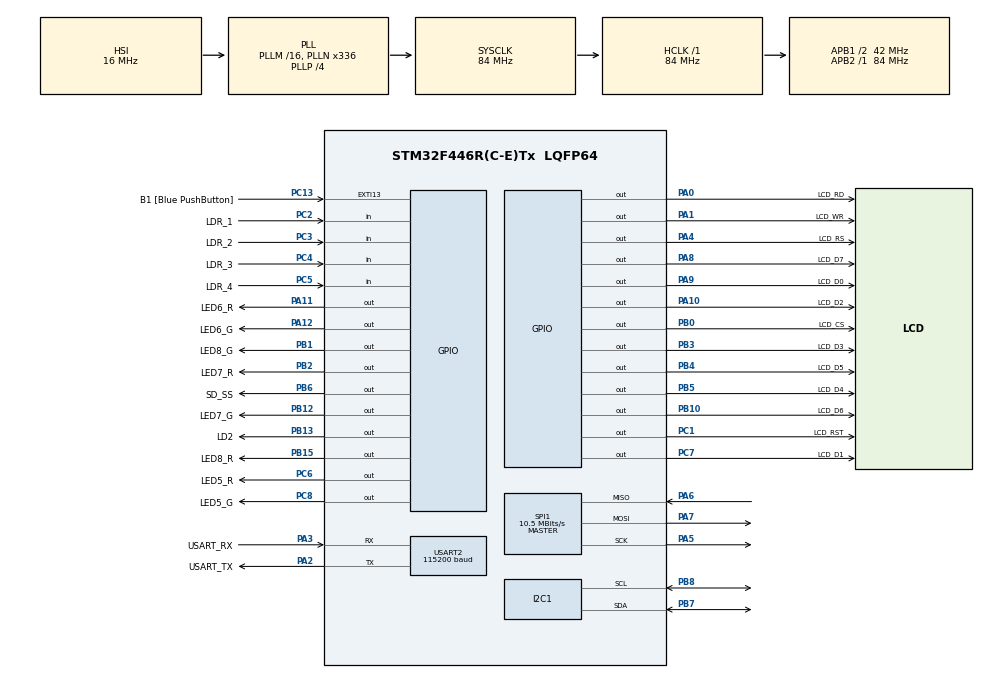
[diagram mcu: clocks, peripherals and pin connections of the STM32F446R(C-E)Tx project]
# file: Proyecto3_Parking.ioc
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I2C1.OwnAddress=0x55
Mcu.Family=STM32F4
Mcu.Name=STM32F446R(C-E)Tx
Mcu.Package=LQFP64
NVIC.I2C1_ER_IRQn=true\:0\:0\:false\:false\:true\:true\:true\:true
NVIC.I2C1_EV_IRQn=true\:0\:0\:false\:false\:true\:true\:true\:true
NVIC.PriorityGroup=NVIC_PRIORITYGROUP_0
PA0-WKUP.GPIO_Label=LCD_RD
PA0-WKUP.Signal=GPIO_Output
PA1.GPIO_Label=LCD_WR
PA1.Signal=GPIO_Output
PA10.GPIO_Label=LCD_D2
PA10.Signal=GPIO_Output
PA11.GPIO_Label=LED6_R
PA11.Signal=GPIO_Output
PA12.GPIO_Label=LED6_G
PA12.Signal=GPIO_Output
PA2.GPIO_Label=USART_TX
PA2.Mode=Asynchronous
PA2.Signal=USART2_TX
PA3.GPIO_Label=USART_RX
PA3.Mode=Asynchronous
PA3.Signal=USART2_RX
PA4.GPIO_Label=LCD_RS
PA4.Signal=GPIO_Output
PA5.Mode=Full_Duplex_Master
PA5.Signal=SPI1_SCK
PA6.Mode=Full_Duplex_Master
PA6.Signal=SPI1_MISO
PA7.Mode=Full_Duplex_Master
PA7.Signal=SPI1_MOSI
PA8.GPIO_Label=LCD_D7
PA8.Signal=GPIO_Output
PA9.GPIO_Label=LCD_D0
PA9.Signal=GPIO_Output
PB0.GPIO_Label=LCD_CS
PB0.Signal=GPIO_Output
PB1.GPIO_Label=LED8_G
PB1.Signal=GPIO_Output
PB10.GPIO_Label=LCD_D6
PB10.Signal=GPIO_Output
PB12.GPIO_Label=LED7_G
PB12.Signal=GPIO_Output
PB13.GPIO_Label=LD2
PB13.Signal=GPIO_Output
PB15.GPIO_Label=LED8_R
PB15.Signal=GPIO_Output
PB2.GPIO_Label=LED7_R
PB2.Signal=GPIO_Output
PB3.GPIO_Label=LCD_D3
PB3.Signal=GPIO_Output
PB4.GPIO_Label=LCD_D5
PB4.Signal=GPIO_Output
PB5.GPIO_Label=LCD_D4
PB5.Signal=GPIO_Output
PB6.GPIO_Label=SD_SS
PB6.Signal=GPIO_Output
PB7.Mode=I2C
PB7.Signal=I2C1_SDA
PB8.Mode=I2C
PB8.Signal=I2C1_SCL
PC1.GPIO_Label=LCD_RST
PC1.Signal=GPIO_Output
PC11.Signal=GPXTI11
PC13.GPIO_Label=B1 [Blue PushButton]
PC13.GPIO_ModeDefaultEXTI=GPIO_MODE_IT_FALLING
PC13.Signal=GPXTI13
PC14-OSC32_IN.Mode=LSE-External-Oscillator
PC14-OSC32_IN.Signal=RCC_OSC32_IN
PC15-OSC32_OUT.Mode=LSE-External-Oscillator
PC15-OSC32_OUT.Signal=RCC_OSC32_OUT
PC2.GPIO_Label=LDR_1
PC2.Signal=GPIO_Input
PC3.GPIO_Label=LDR_2
PC3.Signal=GPIO_Input
PC4.GPIO_Label=LDR_3
PC4.Signal=GPIO_Input
PC5.GPIO_Label=LDR_4
PC5.Signal=GPIO_Input
PC6.GPIO_Label=LED5_R
PC6.Signal=GPIO_Output
PC7.GPIO_Label=LCD_D1
PC7.Signal=GPIO_Output
PC8.GPIO_Label=LED5_G
PC8.Signal=GPIO_Output
PH0-OSC_IN.Mode=HSE-External-Oscillator
PH0-OSC_IN.Signal=RCC_OSC_IN
PH1-OSC_OUT.Mode=HSE-External-Oscillator
PH1-OSC_OUT.Signal=RCC_OSC_OUT
ProjectManager.HeapSize=0x200
ProjectManager.StackSize=0x400
ProjectManager.TargetToolchain=STM32CubeIDE
RCC.48MHZClocksFreq_Value=84000000
RCC.AHBFreq_Value=84000000
RCC.APB1CLKDivider=RCC_HCLK_DIV2
RCC.APB1Freq_Value=42000000
RCC.APB1TimFreq_Value=84000000
RCC.APB2Freq_Value=84000000
RCC.APB2TimFreq_Value=84000000
RCC.CortexFreq_Value=84000000
RCC.FLatency-AdvancedSettings=FLASH_LATENCY_2
RCC.HCLKFreq_Value=84000000
RCC.HSE_VALUE=8000000
RCC.HSI_VALUE=16000000
RCC.PLLN=336
RCC.PLLP=RCC_PLLP_DIV4
RCC.SYSCLKFreq_VALUE=84000000
RCC.SYSCLKSource=RCC_SYSCLKSOURCE_PLLCLK
RCC.USBFreq_Value=168000000
RCC.VCOOutputFreq_Value=336000000
SPI1.BaudRatePrescaler=SPI_BAUDRATEPRESCALER_8
SPI1.CalculateBaudRate=10.5 MBits/s
SPI1.Direction=SPI_DIRECTION_2LINES
SPI1.Mode=SPI_MODE_MASTER
SPI1.VirtualType=VM_MASTER
USART2.BaudRate=115200
USART2.VirtualMode=VM_ASYNC
board=NUCLEO-F446RE

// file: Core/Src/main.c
/* USER CODE BEGIN Header */
/**
  ******************************************************************************
  * @file           : main.c
  * @brief          : Main program body
  ******************************************************************************
  * @attention
  *
  * Copyright (c) 2025 STMicroelectronics.
  * All rights reserved.
  *
  * This software is licensed under terms that can be found in the LICENSE file
  * in the root directory of this software component.
  * If no LICENSE file comes with this software, it is provided AS-IS.
  *
  ******************************************************************************
  */
/* USER CODE END Header */
#include "main.h"

/* USER CODE BEGIN Includes */
#include "ili9341.h"
#include "Bitmaps.h"

#include <string.h>
#include <stdio.h>
/* USER CODE END Includes */

/* USER CODE BEGIN PTD */
#define DeviceAddress 0x66
/* USER CODE END PTD */

I2C_HandleTypeDef hi2c1;

SPI_HandleTypeDef hspi1;

UART_HandleTypeDef huart2;

/* USER CODE BEGIN PV */

  char msg[50];
  uint8_t valorLDR5 = 0;
  uint8_t valorLDR6 = 0;
  uint8_t valorLDR7 = 0;
  uint8_t valorLDR8 = 0;

  //Variables útiles para comunicación I2C
#define TXBUFFERSIZE 4
#define RXBUFFERSIZE 4

int count = 0;

uint8_t aTxBuffer[TXBUFFERSIZE];
/*
 * Si alguno de los bytes en el buffer aTXBuffer se encuentra en 1 es porque ese espacio está ocupado
 *
 * */

uint8_t aRxBuffer[RXBUFFERSIZE];

uint8_t Park5_available = 0;
uint8_t Park6_available = 0;
uint8_t Park7_available = 0;
uint8_t Park8_available = 0;

/* USER CODE END PV */

void SystemClock_Config(void);
static void MX_GPIO_Init(void);
static void MX_USART2_UART_Init(void);
static void MX_SPI1_Init(void);
static void MX_I2C1_Init(void);

int main(void)
{

  /* MCU Configuration--------------------------------------------------------*/

  /* Reset of all peripherals, Initializes the Flash interface and the Systick. */
  HAL_Init();

  /* Configure the system clock */
  SystemClock_Config();

  /* Initialize all configured peripherals */
  MX_GPIO_Init();
  MX_USART2_UART_Init();
  MX_SPI1_Init();
  MX_I2C1_Init();
  /* USER CODE BEGIN 2 */
  LCD_Init();

  if (HAL_I2C_EnableListen_IT(&hi2c1) != HAL_OK){
	  Error_Handler();
  }
  //HAL_ADC_Start(&hadc1);

  //********************* Iniciliazación del fondo **********************************************
  LCD_Clear(0x00);
  FillRect(0, 0, 319, 239, 0x4a49);
  FillRect(80, 0,3,75,0xff20 );
  FillRect(160, 0,3,75,0xff20 );
  FillRect(240, 0,3,75,0xff20 );
  FillRect(80, 154,3,75,0xff20 );
  FillRect(160, 154,3,75,0xff20 );
  FillRect(240, 154,3,75,0xff20 );

  //LCD_Sprite(x, y, width, height, bitmap, columns, index, flip, offset)
  //LCD_Sprite(0, 0, 70, 89, Car_red_prueba, 1, 0, 1, 0);

  /* USER CODE END 2 */

  /* Infinite loop */
  /* USER CODE BEGIN WHILE */
  while (1)
  {

	      //HAL_ADC_Start(&hadc1);
	 	  //HAL_ADC_PollForConversion(&hadc1, HAL_MAX_DELAY);
	 	  //valorADC = HAL_ADC_GetValue(&hadc1);

	      valorLDR5 = HAL_GPIO_ReadPin(GPIOC, LDR_1_Pin);
	 	  if (valorLDR5)
	 	      {
	 	        HAL_GPIO_WritePin(GPIOC, LED5_G_Pin, GPIO_PIN_RESET);
	 	        HAL_GPIO_WritePin(GPIOC, LED5_R_Pin, GPIO_PIN_SET);
	 	       LCD_Sprite(0, 0, 70, 89, Car_red_prueba, 1, 0, 1, 0);
	 	       Park5_available = 1;
	 	      }
	 	  else
	 	      {
	 	        HAL_GPIO_WritePin(GPIOC,  LED5_G_Pin, GPIO_PIN_SET);
	 	        HAL_GPIO_WritePin(GPIOC,  LED5_R_Pin, GPIO_PIN_RESET);
	 	       //green_count_local++;
	 	       Park5_available = 0;
	 	        FillRect(0, 0, 70, 89, 0x4a49);
	 	      }

	 	  valorLDR6 = HAL_GPIO_ReadPin(GPIOC, LDR_2_Pin);
	 	 if (valorLDR6)
	 	      {
	 	 	 	  HAL_GPIO_WritePin(GPIOA, LED6_G_Pin, GPIO_PIN_RESET);
	 	 	 	  HAL_GPIO_WritePin(GPIOA, LED6_R_Pin, GPIO_PIN_SET);
	 	 	 	  LCD_Sprite(83, 0, 70, 89, Car_red_prueba, 1, 0, 1, 0);
	 	 	 	  Park6_available = 1;
	 	 	   }
	 	 	 else
	 	 	   {
	 	 	       HAL_GPIO_WritePin(GPIOA,  LED6_G_Pin, GPIO_PIN_SET);
	 	 	 	   HAL_GPIO_WritePin(GPIOA,  LED6_R_Pin, GPIO_PIN_RESET);
	 	 	 	 //green_count_local++;
	 	 	 	   FillRect(83, 0, 70, 89, 0x4a49);
	 	 	 	   Park6_available = 0;
	 	 	 	}

	 	valorLDR7 = HAL_GPIO_ReadPin(GPIOC, LDR_3_Pin);
	 		 	 if (valorLDR7)
	 		 	      {
	 		 	 	 	  HAL_GPIO_WritePin(GPIOB, LED7_G_Pin, GPIO_PIN_RESET);
	 		 	 	 	  HAL_GPIO_WritePin(GPIOB, LED7_R_Pin, GPIO_PIN_SET);
	 		 	 	 	  LCD_Sprite(163, 0, 70, 89, Car_red_prueba, 1, 0, 1, 0);
	 		 	 	 	Park7_available = 1;
	 		 	 	   }
	 		 	 	 else
	 		 	 	   {
	 		 	 	       HAL_GPIO_WritePin(GPIOB,  LED7_G_Pin, GPIO_PIN_SET);
	 		 	 	 	   HAL_GPIO_WritePin(GPIOB,  LED7_R_Pin, GPIO_PIN_RESET);
	 		 	 	 	// green_count_local++;
	 		 	 	 	   FillRect(163, 0, 70, 89, 0x4a49);
	 		 	 	 	Park7_available = 0;
	 		 	 	 	}

	 		 	valorLDR8 = HAL_GPIO_ReadPin(GPIOC, LDR_4_Pin);
	 		 	if (valorLDR8)
	 		 		 		 	      {
	 		 		 		 	 	 	  HAL_GPIO_WritePin(GPIOB, LED8_G_Pin, GPIO_PIN_RESET);
	 		 		 		 	 	 	  HAL_GPIO_WritePin(GPIOB, LED8_R_Pin, GPIO_PIN_SET);
	 		 		 		 	 	 	  LCD_Sprite(243, 0, 70, 89, Car_red_prueba, 1, 0, 1, 0);
	 		 		 		 	 	 Park8_available = 1;
	 		 		 		 	 	   }
	 		 		 		 	 	 else
	 		 		 		 	 	   {
	 		 		 		 	 	       HAL_GPIO_WritePin(GPIOB,  LED8_G_Pin, GPIO_PIN_SET);
	 		 		 		 	 	 	   HAL_GPIO_WritePin(GPIOB,  LED8_R_Pin, GPIO_PIN_RESET);
	 		 		 		 	 	//  green_count_local++;
	 		 		 		 	 	 	   FillRect(243, 0, 70, 89, 0x4a49);
	 		 		 		 	 	 	Park8_available = 0;
	 		 		 		 	 	 	}

	 	      //HAL_UART_Transmit(&huart2, (uint8_t*)msg, strlen(msg), HAL_MAX_DELAY);

	 	    /* aTxBuffer[0] = green_count_local;

	 	        uint8_t green_count_remote = aRxBuffer[0];
	 	        if (green_count_remote > 4) green_count_remote = 4;

	 	        uint8_t total_green = green_count_local + green_count_remote;
	 	        if (total_green > 8) total_green = 8;
	 	      HAL_Delay(100);*/

    /* USER CODE END WHILE */

  }
}

void SystemClock_Config(void)
{
  RCC_OscInitTypeDef RCC_OscInitStruct = {0};
  RCC_ClkInitTypeDef RCC_ClkInitStruct = {0};

  /** Configure the main internal regulator output voltage
  */
  __HAL_RCC_PWR_CLK_ENABLE();
  __HAL_PWR_VOLTAGESCALING_CONFIG(PWR_REGULATOR_VOLTAGE_SCALE3);

  /** Initializes the RCC Oscillators according to the specified parameters
  * in the RCC_OscInitTypeDef structure.
  */
  RCC_OscInitStruct.OscillatorType = RCC_OSCILLATORTYPE_HSI;
  RCC_OscInitStruct.HSIState = RCC_HSI_ON;
  RCC_OscInitStruct.HSICalibrationValue = RCC_HSICALIBRATION_DEFAULT;
  RCC_OscInitStruct.PLL.PLLState = RCC_PLL_ON;
  RCC_OscInitStruct.PLL.PLLSource = RCC_PLLSOURCE_HSI;
  RCC_OscInitStruct.PLL.PLLM = 16;
  RCC_OscInitStruct.PLL.PLLN = 336;
  RCC_OscInitStruct.PLL.PLLP = RCC_PLLP_DIV4;
  RCC_OscInitStruct.PLL.PLLQ = 2;
  RCC_OscInitStruct.PLL.PLLR = 2;
  if (HAL_RCC_OscConfig(&RCC_OscInitStruct) != HAL_OK)
  {
    Error_Handler();
  }

  /** Initializes the CPU, AHB and APB buses clocks
  */
  RCC_ClkInitStruct.ClockType = RCC_CLOCKTYPE_HCLK|RCC_CLOCKTYPE_SYSCLK
                              |RCC_CLOCKTYPE_PCLK1|RCC_CLOCKTYPE_PCLK2;
  RCC_ClkInitStruct.SYSCLKSource = RCC_SYSCLKSOURCE_PLLCLK;
  RCC_ClkInitStruct.AHBCLKDivider = RCC_SYSCLK_DIV1;
  RCC_ClkInitStruct.APB1CLKDivider = RCC_HCLK_DIV2;
  RCC_ClkInitStruct.APB2CLKDivider = RCC_HCLK_DIV1;

  if (HAL_RCC_ClockConfig(&RCC_ClkInitStruct, FLASH_LATENCY_2) != HAL_OK)
  {
    Error_Handler();
  }
}

static void MX_I2C1_Init(void)
{

  hi2c1.Instance = I2C1;
  hi2c1.Init.ClockSpeed = 100000;
  hi2c1.Init.DutyCycle = I2C_DUTYCYCLE_2;
  hi2c1.Init.OwnAddress1 = 170;
  hi2c1.Init.AddressingMode = I2C_ADDRESSINGMODE_7BIT;
  hi2c1.Init.DualAddressMode = I2C_DUALADDRESS_DISABLE;
  hi2c1.Init.OwnAddress2 = 0;
  hi2c1.Init.GeneralCallMode = I2C_GENERALCALL_DISABLE;
  hi2c1.Init.NoStretchMode = I2C_NOSTRETCH_DISABLE;
  if (HAL_I2C_Init(&hi2c1) != HAL_OK)
  {
    Error_Handler();
  }

}

static void MX_SPI1_Init(void)
{

  /* SPI1 parameter configuration*/
  hspi1.Instance = SPI1;
  hspi1.Init.Mode = SPI_MODE_MASTER;
  hspi1.Init.Direction = SPI_DIRECTION_2LINES;
  hspi1.Init.DataSize = SPI_DATASIZE_8BIT;
  hspi1.Init.CLKPolarity = SPI_POLARITY_LOW;
  hspi1.Init.CLKPhase = SPI_PHASE_1EDGE;
  hspi1.Init.NSS = SPI_NSS_SOFT;
  hspi1.Init.BaudRatePrescaler = SPI_BAUDRATEPRESCALER_8;
  hspi1.Init.FirstBit = SPI_FIRSTBIT_MSB;
  hspi1.Init.TIMode = SPI_TIMODE_DISABLE;
  hspi1.Init.CRCCalculation = SPI_CRCCALCULATION_DISABLE;
  hspi1.Init.CRCPolynomial = 10;
  if (HAL_SPI_Init(&hspi1) != HAL_OK)
  {
    Error_Handler();
  }

}

static void MX_USART2_UART_Init(void)
{

  huart2.Instance = USART2;
  huart2.Init.BaudRate = 115200;
  huart2.Init.WordLength = UART_WORDLENGTH_8B;
  huart2.Init.StopBits = UART_STOPBITS_1;
  huart2.Init.Parity = UART_PARITY_NONE;
  huart2.Init.Mode = UART_MODE_TX_RX;
  huart2.Init.HwFlowCtl = UART_HWCONTROL_NONE;
  huart2.Init.OverSampling = UART_OVERSAMPLING_16;
  if (HAL_UART_Init(&huart2) != HAL_OK)
  {
    Error_Handler();
  }

}

static void MX_GPIO_Init(void)
{
  GPIO_InitTypeDef GPIO_InitStruct = {0};

  /* GPIO Ports Clock Enable */
  __HAL_RCC_GPIOC_CLK_ENABLE();
  __HAL_RCC_GPIOH_CLK_ENABLE();
  __HAL_RCC_GPIOA_CLK_ENABLE();
  __HAL_RCC_GPIOB_CLK_ENABLE();

  /*Configure GPIO pin Output Level */
  HAL_GPIO_WritePin(GPIOC, LCD_RST_Pin|LED5_R_Pin|LCD_D1_Pin|LED5_G_Pin, GPIO_PIN_RESET);

  /*Configure GPIO pin Output Level */
  HAL_GPIO_WritePin(GPIOA, LCD_RD_Pin|LCD_WR_Pin|LCD_RS_Pin|LCD_D7_Pin
                          |LCD_D0_Pin|LCD_D2_Pin|LED6_R_Pin|LED6_G_Pin, GPIO_PIN_RESET);

  /*Configure GPIO pin Output Level */
  HAL_GPIO_WritePin(GPIOB, LCD_CS_Pin|LED8_G_Pin|LED7_R_Pin|LCD_D6_Pin
                          |LED7_G_Pin|LD2_Pin|LED8_R_Pin|LCD_D3_Pin
                          |LCD_D5_Pin|LCD_D4_Pin|SD_SS_Pin, GPIO_PIN_RESET);

  /*Configure GPIO pin : B1_Pin */
  GPIO_InitStruct.Pin = B1_Pin;
  GPIO_InitStruct.Mode = GPIO_MODE_IT_FALLING;
  GPIO_InitStruct.Pull = GPIO_NOPULL;
  HAL_GPIO_Init(B1_GPIO_Port, &GPIO_InitStruct);

  /*Configure GPIO pins : LCD_RST_Pin LED5_R_Pin LCD_D1_Pin LED5_G_Pin */
  GPIO_InitStruct.Pin = LCD_RST_Pin|LED5_R_Pin|LCD_D1_Pin|LED5_G_Pin;
  GPIO_InitStruct.Mode = GPIO_MODE_OUTPUT_PP;
  GPIO_InitStruct.Pull = GPIO_NOPULL;
  GPIO_InitStruct.Speed = GPIO_SPEED_FREQ_LOW;
  HAL_GPIO_Init(GPIOC, &GPIO_InitStruct);

  /*Configure GPIO pins : LDR_1_Pin LDR_2_Pin LDR_3_Pin LDR_4_Pin */
  GPIO_InitStruct.Pin = LDR_1_Pin|LDR_2_Pin|LDR_3_Pin|LDR_4_Pin;
  GPIO_InitStruct.Mode = GPIO_MODE_INPUT;
  GPIO_InitStruct.Pull = GPIO_NOPULL;
  HAL_GPIO_Init(GPIOC, &GPIO_InitStruct);

  /*Configure GPIO pins : LCD_RD_Pin LCD_WR_Pin LCD_RS_Pin LCD_D7_Pin
                           LCD_D0_Pin LCD_D2_Pin LED6_R_Pin LED6_G_Pin */
  GPIO_InitStruct.Pin = LCD_RD_Pin|LCD_WR_Pin|LCD_RS_Pin|LCD_D7_Pin
                          |LCD_D0_Pin|LCD_D2_Pin|LED6_R_Pin|LED6_G_Pin;
  GPIO_InitStruct.Mode = GPIO_MODE_OUTPUT_PP;
  GPIO_InitStruct.Pull = GPIO_NOPULL;
  GPIO_InitStruct.Speed = GPIO_SPEED_FREQ_LOW;
  HAL_GPIO_Init(GPIOA, &GPIO_InitStruct);

  /*Configure GPIO pins : LCD_CS_Pin LED8_G_Pin LED7_R_Pin LCD_D6_Pin
                           LED7_G_Pin LD2_Pin LED8_R_Pin LCD_D3_Pin
                           LCD_D5_Pin LCD_D4_Pin SD_SS_Pin */
  GPIO_InitStruct.Pin = LCD_CS_Pin|LED8_G_Pin|LED7_R_Pin|LCD_D6_Pin
                          |LED7_G_Pin|LD2_Pin|LED8_R_Pin|LCD_D3_Pin
                          |LCD_D5_Pin|LCD_D4_Pin|SD_SS_Pin;
  GPIO_InitStruct.Mode = GPIO_MODE_OUTPUT_PP;
  GPIO_InitStruct.Pull = GPIO_NOPULL;
  GPIO_InitStruct.Speed = GPIO_SPEED_FREQ_LOW;
  HAL_GPIO_Init(GPIOB, &GPIO_InitStruct);

  /*Configure GPIO pin : PC11 */
  GPIO_InitStruct.Pin = GPIO_PIN_11;
  GPIO_InitStruct.Mode = GPIO_MODE_IT_RISING;
  GPIO_InitStruct.Pull = GPIO_NOPULL;
  HAL_GPIO_Init(GPIOC, &GPIO_InitStruct);

}

/* USER CODE BEGIN 4 */
void HAL_I2C_ListenCpltCallback(I2C_HandleTypeDef *hi2c) {
	HAL_I2C_EnableListen_IT(hi2c);
}

void HAL_I2C_SlaveTxCpltCallback(I2C_HandleTypeDef *I2cHandle) {
	aTxBuffer[0] = Park5_available;
	aTxBuffer[1] = Park6_available;
	aTxBuffer[2] = Park7_available;
	aTxBuffer[3] = Park8_available;

}

void HAL_I2C_SlaveRxCpltCallback(I2C_HandleTypeDef *I2cHnadle) {
	HAL_UART_Transmit(&huart2, aRxBuffer, 4, 1000);
	if(aRxBuffer[0] == 'S'){
		//HAL_GPIO_WritePin(GPIOB, LD2_Pin, GPIO_PIN_SET);
		HAL_Delay(900);
	}else{//HAL_GPIO_WritePin(GPIOB, LD2_Pin, GPIO_PIN_RESET);
		}
}

void HAL_I2C_AddrCallback(I2C_HandleTypeDef *hi2c, uint8_t TransferDirection, uint16_t AddrMatchCode){
	if (TransferDirection == I2C_DIRECTION_TRANSMIT){
		if (HAL_I2C_Slave_Seq_Receive_IT(&hi2c1, (uint8_t*) aRxBuffer,
				RXBUFFERSIZE, I2C_FIRST_AND_LAST_FRAME) !=HAL_OK) {
			Error_Handler();
		}
	} else if (TransferDirection == I2C_DIRECTION_RECEIVE) {
		if (HAL_I2C_Slave_Seq_Transmit_IT(&hi2c1, (uint8_t*) aTxBuffer, 4, I2C_FIRST_AND_LAST_FRAME) != HAL_OK){
			Error_Handler();
		}
	}

}

void HAL_I2C_ErrorCallback(I2C_HandleTypeDef *I2cHandle){
	HAL_GPIO_WritePin(GPIOB, LD2_Pin, GPIO_PIN_SET);
}

/* USER CODE END 4 */

void Error_Handler(void)
{
  __disable_irq();
  while (1)
  {
  }
}
